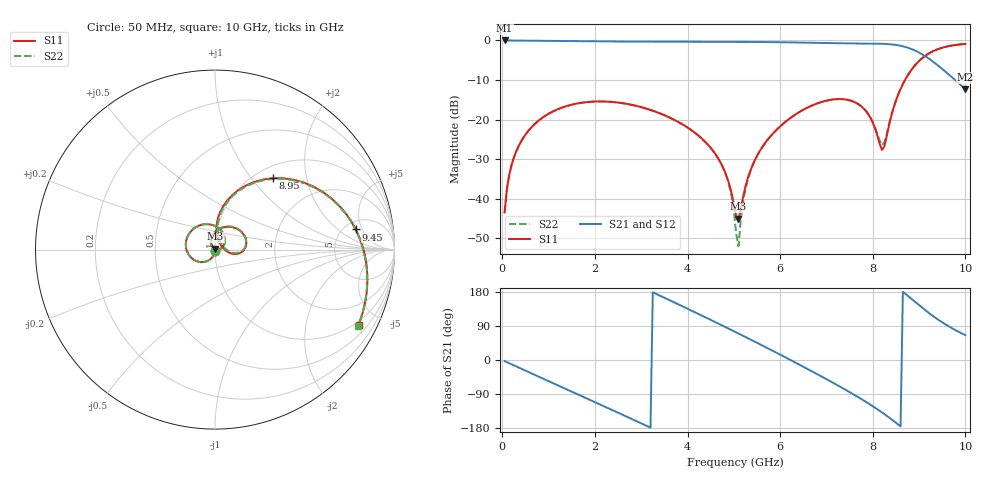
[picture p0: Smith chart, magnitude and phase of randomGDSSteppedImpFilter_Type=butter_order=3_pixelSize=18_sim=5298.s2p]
! freq	dB(S11)	phase(S11)	dB(S12)	phase(S12)
!  dB(S21)	phase(S21)	dB(S22)	phase(S22)
!S-par simulation data
#  GHz  S  DB  R 50
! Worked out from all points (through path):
!   200 points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, 50 MHz to 10 GHz, reference 50 ohm
!   highest |S21| = 0.00 dB at 50 MHz (marker M1); lowest = -12.3 dB at 10 GHz (marker M2)
!   group delay of S21, straight-line fit = 178 ps
!   lowest |S11| = -45.1 dB at 5.1 GHz (marker M3), VSWR 1.01, Z = 50.1 + j0.547 ohm
!   |S11| at or under -10 dB: start of sweep to 8.696 GHz
!   |S22| runs from -52.0 to -0.9 dB; largest |S21 - S12| = 0
!   S11 on the Smith chart (normalised r, x): 50 MHz: 1.00, -0.01; 8.95 GHz: 1.20, +1.29; 9.45 GHz: 6.30, +3.81; 10 GHz: 0.85, -3.88
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0.05  -43.49 -92.1  -0.00 -2.9  -0.00 -2.9  -43.49 -92.1
0.2  -31.50 -101.0  -0.02 -11.3  -0.02 -11.3  -31.50 -101.0
0.5  -23.81 -118.3  -0.06 -28.1  -0.06 -28.1  -23.81 -118.3
1.15  -17.63 -155.0  -0.15 -64.2  -0.15 -64.2  -17.63 -155.0
1.75  -15.68 171.8  -0.24 -97.4  -0.24 -97.4  -15.69 171.7
2.65  -15.95 121.8  -0.29 -147.4  -0.29 -147.4  -15.95 121.5
3.4  -18.41 79.6  -0.30 170.1  -0.30 170.1  -18.41 78.9
4.65  -29.56 12.6  -0.33 97.0  -0.33 97.0  -29.64 7.8
4.9  -36.29 9.0  -0.35 82.0  -0.35 82.0  -36.72 -2.6
5.05  -44.26 41.6  -0.35 72.9  -0.35 72.9  -48.82 15.8
5.1  -45.05 77.3  -0.36 69.9  -0.36 69.9  -51.99 92.1
5.25  -36.97 124.5  -0.37 60.8  -0.37 60.8  -37.61 138.9
5.5  -29.16 123.2  -0.39 45.4  -0.39 45.4  -29.28 129.5
6.1  -20.69 92.2  -0.47 7.9  -0.47 7.9  -20.71 95.0
6.7  -16.38 56.6  -0.59 -30.7  -0.59 -30.7  -16.38 58.5
7.6  -15.56 2.2  -0.76 -91.8  -0.76 -91.8  -15.52 4.1
7.95  -19.59 -13.2  -0.79 -118.0  -0.79 -118.0  -19.45 -10.3
8.2  -27.66 28.2  -0.85 -138.4  -0.85 -138.4  -26.51 29.7
8.35  -21.51 82.5  -0.95 -151.6  -0.95 -151.6  -21.15 79.2
8.95  -5.79 50.8  -2.76 149.4  -2.76 149.4  -5.78 50.1
9.45  -2.02 8.1  -6.73 103.3  -6.73 103.3  -2.02 7.7
10  -0.88 -27.7  -12.31 65.6  -12.31 65.6  -0.89 -28.1
